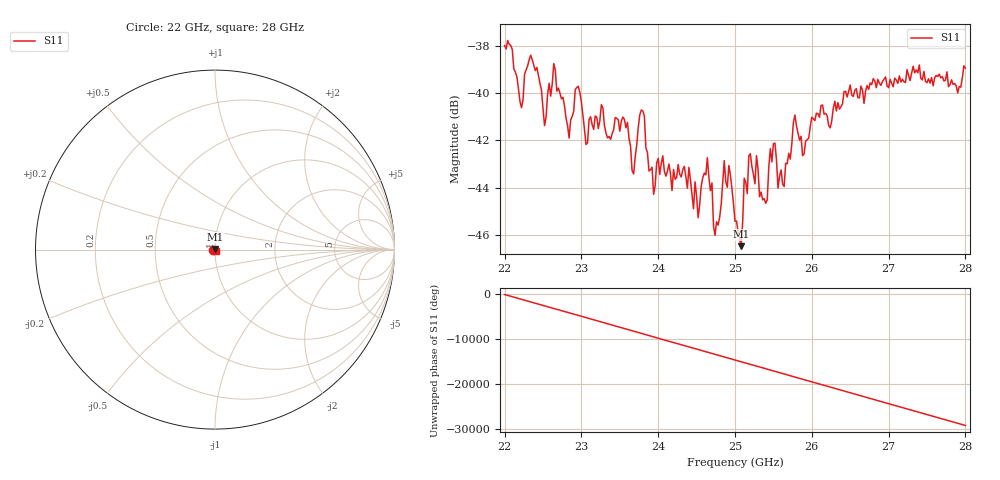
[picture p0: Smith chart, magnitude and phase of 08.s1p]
#  HZ  S  RI  R  50.00
! Rohde & Schwarz ZVA40 4Ports - Version 3.90 - 1145.1110k42 SN: 100403
! Date: 2023-10-04 08:28:23
! Measurement: S12
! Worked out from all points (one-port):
!   301 points, 22 GHz to 28 GHz, reference 50 ohm
!   lowest |S11| = -46.5 dB at 25.08 GHz (marker M1), VSWR 1.01, Z = 50.2 + j0.418 ohm
!   |S11| at or under -10 dB: start of sweep to end of sweep
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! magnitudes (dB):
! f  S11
! 22 GHz  -38.0
! 22.22 GHz  -40.6
! 22.34 GHz  -38.4
! 22.52 GHz  -41.4
! 22.64 GHz  -38.8
! 22.76 GHz  -40.2
! 22.84 GHz  -41.9
! 22.96 GHz  -39.7
! 23.5 GHz  -41.6
! 23.68 GHz  -43.4
! 23.8 GHz  -40.8
! 23.94 GHz  -44.3
! 24.26 GHz  -43.0
! 24.52 GHz  -45.3
! 24.64 GHz  -42.7
! 24.74 GHz  -46.0
! 24.86 GHz  -42.8
! 25 GHz  -45.4
! 25.08 GHz  -46.5
! 25.18 GHz  -42.6
! 25.4 GHz  -44.7
! 25.46 GHz  -42.3
! 25.64 GHz  -43.9
! 25.76 GHz  -41.2
! 25.88 GHz  -42.6
! 26.5 GHz  -39.7
! 27.26 GHz  -39.3
! 28 GHz  -38.9
